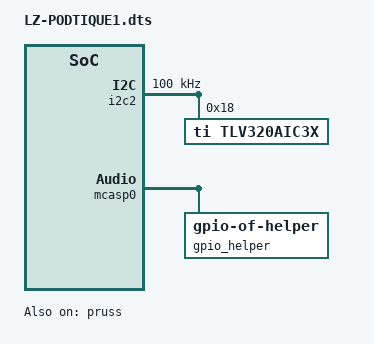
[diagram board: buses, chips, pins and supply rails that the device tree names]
/*
	Device Tree Overlay for the Latency: Zero, LLC Podtique, version 1.
	
	Based on the EBB-PRU-Example.dts from Derek Molloy:
	This overlay is based on the BB-PRU-01 overlay
	Written by Derek Molloy for the book "Exploring BeagleBone: Tools and 
	Techniques for Building with Embedded Linux" by John Wiley & Sons, 2014
	ISBN 9781118935125.
	
	Please see the file README.md in the repository root 
	directory for copyright and license information.
*/

/dts-v1/;
/plugin/;

/ {
   compatible = "ti,beaglebone-black";

   part-number = "LZ-PODTIQUE1";
   version = "00A0";

   /* This overlay uses the following resources */
   exclusive-use =
		"P8.11",
		"P8.12",
		"P8.13",
		"P8.14",
		"P8.15",
		"P8.16",
		"P8.17",
		"P8.18",
		
		"P9.19",		//	REDUNDANT?
		"P9.20",		//	REDUNDANT?
		
		"P9.25",
		"P9.27",
		"P9.28",
		"P9.29",
		"P9.30",
		"P9.31",
		"P9.37",
		"P9.39",
		"P9.40",
		"pru0";

	fragment@0 {
	  target = <&am33xx_pinmux>;
	  __overlay__ {

		 gpio_pins: pinmux_gpio_pins {         // The GPIO pins
			pinctrl-single,pins = <
//				0x034 (PIN_OUTPUT_PULLDOWN | MUX_MODE7)			//	P8_11, NeoPixels (driven by PRU)
				0x030 (PIN_INPUT_PULLUP | MUX_MODE7)			//	P8_12, Amp nFault
				0x024 (PIN_OUTPUT_PULLDOWN | MUX_MODE7)			//	P8_13, Amp nSD
				0x028 (PIN_INPUT_PULLUP | MUX_MODE7)			//	P8_14, Front Panel Pin 6
				0x03c (PIN_INPUT_PULLUP | MUX_MODE7)			//	P8_15, Front Panel Pin 8
				0x038 (PIN_INPUT_PULLUP | MUX_MODE7)			//	P8_16, Front Panel Pin 10
				0x02c (PIN_INPUT_PULLUP | MUX_MODE7)			//	P8_17, Front Panel Pin 7
				0x08c (PIN_INPUT_PULLUP | MUX_MODE7)			//	P8_18, Front Panel Pin 9
			
//				0x17c (PIN_INPUT_PULLUP | MUX_MODE3)			//	P9_19 I2C 2 SCL uart1_rtsn.i2c2_scl	REDUNDANT?
//				0x178 (PIN_INPUT_PULLUP | MUX_MODE3)			//	P9_20 I2C 2 SDA uart1_ctsn.i2c2_sda	REDUNDANT?
			
				0x1a4 (PIN_OUTPUT_PULLDOWN | MUX_MODE7)			//	P9_27, Front Panel Power 1.8V

//				0x1ac (PIN_OUTPUT | MUX_MODE0)					//	P9_25 mcasp0.ahclkx
//				0x19c (PIN_OUTPUT | MUX_MODE2)					//	P9_28 mcasp0.axr2
//				0x194 (PIN_OUTPUT | MUX_MODE0)					//	P9_29 mcasp0.fsx
//				0x198 (PIN_OUTPUT | MUX_MODE0)					//	P9_30 mcasp0.axr0
//				0x190 (PIN_OUTPUT | MUX_MODE0)					//	P9_31 mcasp0.aclkx
			>;
		 };

		 pru_pru_pins: pinmux_pru_pru_pins {   // The PRU pin modes
			pinctrl-single,pins = <
				0x034 (PIN_OUTPUT_PULLDOWN | MUX_MODE6)			//	P8_11, NeoPixels (driven by PRU pr1_pru0_pru_r30_15)
			>;
		 };

		i2c2_pins: pinmux_i2c2_pins {
			pinctrl-single,pins = <
				0x17c (PIN_INPUT_PULLUP | MUX_MODE3)			//	P9_19 I2C 2 SCL uart1_rtsn.i2c2_scl	REDUNDANT?
				0x178 (PIN_INPUT_PULLUP | MUX_MODE3)			//	P9_20 I2C 2 SDA uart1_ctsn.i2c2_sda	REDUNDANT?
			>;
		};

		 podtique_audio_pins: pinmux_podtique_audio_pins {   // The McASP0 pin modes
			pinctrl-single,pins = <
				0x1ac (PIN_OUTPUT | MUX_MODE0)					//	P9_25 mcasp0.ahclkx
				0x19c (PIN_OUTPUT | MUX_MODE2)					//	P9_28 mcasp0.axr2
				0x194 (PIN_OUTPUT | MUX_MODE0)					//	P9_29 mcasp0.fsx
				0x198 (PIN_OUTPUT | MUX_MODE0)					//	P9_30 mcasp0.axr0
				0x190 (PIN_OUTPUT | MUX_MODE0)					//	P9_31 mcasp0.aclkx
			>;
		 };
	  };
	};

	fragment@1 {         // Enable the PRUSS
	  target = <&pruss>;
	  __overlay__ {
		 status = "okay";
		 pinctrl-names = "default";
		 pinctrl-0 = <&pru_pru_pins>;
	  };
	};

	fragment@2 {         // Enable the GPIOs
	  target = <&ocp>;
	  __overlay__ {
		 gpio_helper {
			compatible = "gpio-of-helper";
			status = "okay";
			pinctrl-names = "default";
			pinctrl-0 = <&gpio_pins>;
		 };
	  };
	};

	fragment@3 {
		target = <&i2c2>;
		__overlay__ {
			#address-cells = <1>;
			#size-cells = <0>;
			clock-frequency = <100000>;
			status = "okay";
			pinctrl-names = "default";
			pinctrl-0 = <&i2c2_pins>;


			tlv320aic3x: tlv320aic3x@18 {
				compatible = "ti,tlv320aic3x";
				reg = <0x18>;
				status = "okay";
			};
		};
	};

	fragment@4 {         // Enable the McASP0
	  target = <&mcasp0>;
	  __overlay__ {
		 gpio_helper {
			compatible = "gpio-of-helper";
			status = "okay";
			pinctrl-names = "default";
			pinctrl-0 = <&podtique_audio_pins>;
		 };
	  };
	};
};
